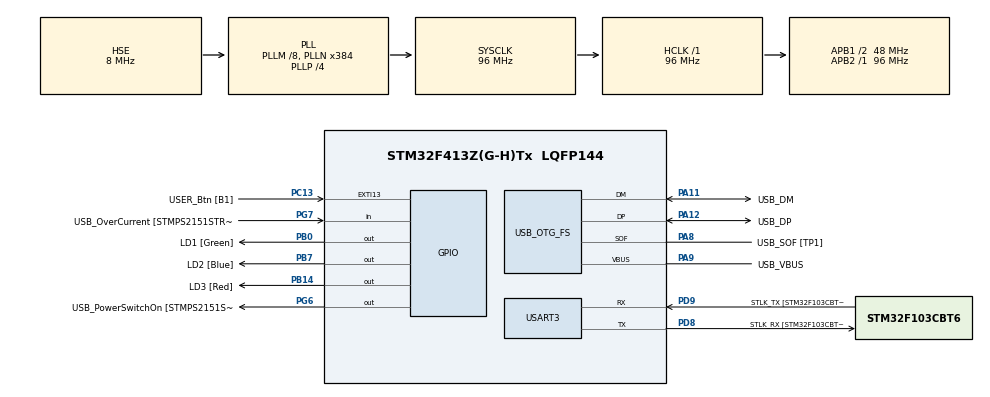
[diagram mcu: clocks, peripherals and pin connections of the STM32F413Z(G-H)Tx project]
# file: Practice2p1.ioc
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Mcu.Family=STM32F4
Mcu.Name=STM32F413Z(G-H)Tx
Mcu.Package=LQFP144
NVIC.PriorityGroup=NVIC_PRIORITYGROUP_4
PA10.GPIO_Label=USB_ID
PA10.Signal=USB_OTG_FS_ID
PA11.GPIO_Label=USB_DM
PA11.Mode=Device_Only
PA11.Signal=USB_OTG_FS_DM
PA12.GPIO_Label=USB_DP
PA12.Mode=Device_Only
PA12.Signal=USB_OTG_FS_DP
PA13.GPIO_Label=TMS
PA13.Mode=Serial_Wire
PA13.Signal=SYS_JTMS-SWDIO
PA14.GPIO_Label=TCK
PA14.Mode=Serial_Wire
PA14.Signal=SYS_JTCK-SWCLK
PA8.GPIO_Label=USB_SOF [TP1]
PA8.Mode=Activate_SOF_FS
PA8.Signal=USB_OTG_FS_SOF
PA9.GPIO_Label=USB_VBUS
PA9.Mode=Activate_VBUS
PA9.Signal=USB_OTG_FS_VBUS
PB0.GPIO_Label=LD1 [Green]
PB0.Signal=GPIO_Output
PB14.GPIO_Label=LD3 [Red]
PB14.Signal=GPIO_Output
PB3.GPIO_Label=SWO
PB3.Signal=SYS_JTDO-SWO
PB7.GPIO_Label=LD2 [Blue]
PB7.Signal=GPIO_Output
PC13.GPIO_Label=USER_Btn [B1]
PC13.Signal=GPXTI13
PC14-OSC32_IN.Mode=LSE-External-Oscillator
PC14-OSC32_IN.Signal=RCC_OSC32_IN
PC15-OSC32_OUT.Mode=LSE-External-Oscillator
PC15-OSC32_OUT.Signal=RCC_OSC32_OUT
PD8.GPIO_Label=STLK_RX [STM32F103CBT6_PA3]
PD8.Mode=Asynchronous
PD8.Signal=USART3_TX
PD9.GPIO_Label=STLK_TX [STM32F103CBT6_PA2]
PD9.Mode=Asynchronous
PD9.Signal=USART3_RX
PG6.GPIO_Label=USB_PowerSwitchOn [STMPS2151STR_EN]
PG6.Signal=GPIO_Output
PG7.GPIO_Label=USB_OverCurrent [STMPS2151STR_FAULT]
PG7.Signal=GPIO_Input
PH0\ -\ OSC_IN.GPIO_Label=MCO
PH0\ -\ OSC_IN.Mode=HSE-External-Clock-Source
PH0\ -\ OSC_IN.Signal=RCC_OSC_IN
PH1\ -\ OSC_OUT.Mode=HSE-External-Clock-Source
PH1\ -\ OSC_OUT.Signal=RCC_OSC_OUT
ProjectManager.HeapSize=0x200
ProjectManager.StackSize=0x400
ProjectManager.TargetToolchain=STM32CubeIDE
RCC.48MHZClocksFreq_Value=24000000
RCC.AHBFreq_Value=96000000
RCC.APB1CLKDivider=RCC_HCLK_DIV2
RCC.APB1Freq_Value=48000000
RCC.APB1TimFreq_Value=96000000
RCC.APB2Freq_Value=96000000
RCC.APB2TimFreq_Value=96000000
RCC.CortexFreq_Value=96000000
RCC.HCLKFreq_Value=96000000
RCC.HSE_VALUE=8000000
RCC.HSI_VALUE=16000000
RCC.PLLM=8
RCC.PLLMUL=RCC_PLL_MUL9
RCC.PLLN=384
RCC.PLLP=RCC_PLLP_DIV4
RCC.PLLQ=8
RCC.PRESCALERUSB=RCC_USBCLKSOURCE_PLL_DIV1_5
RCC.SYSCLKFreq_VALUE=96000000
RCC.SYSCLKSource=RCC_SYSCLKSOURCE_PLLCLK
RCC.SYSCLKSourceVirtual=RCC_SYSCLKSOURCE_PLLCLK
RCC.USBFreq_Value=48000000
RCC.VCOOutputFreq_Value=384000000
USART3.VirtualMode=VM_ASYNC
USB_OTG_FS.VirtualMode=Device_Only
board=NUCLEO-F413ZH

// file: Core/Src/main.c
/* USER CODE BEGIN Header */
/**
  ******************************************************************************
  * @file           : main.c
  * @brief          : Main program body
  ******************************************************************************
  * @attention
  *
  * Copyright (c) 2023 STMicroelectronics.
  * All rights reserved.
  *
  * This software is licensed under terms that can be found in the LICENSE file
  * in the root directory of this software component.
  * If no LICENSE file comes with this software, it is provided AS-IS.
  *
  ******************************************************************************
  */
/* USER CODE END Header */
#include "main.h"

/* USER CODE BEGIN PD */

#define PERIOD_LED1 100
#define PERIOD_LED2 500
#define PERIOD_LED3 1000
#define LEDn 3

/* USER CODE END PD */

UART_HandleTypeDef huart3;

PCD_HandleTypeDef hpcd_USB_OTG_FS;

/* USER CODE BEGIN PV */
uint16_t ledPinArray[LEDn]={LD1_Pin, LD2_Pin, LD3_Pin};
uint16_t periodArray[LEDn]={PERIOD_LED1, PERIOD_LED2, PERIOD_LED3};

delay_t ledTimed[LEDn];

// uint16_t delayTime=200;

//uint32_t actualTime = 0;
//uint32_t startTime = 0;
//uint32_t duration = 0;

/* USER CODE END PV */

void SystemClock_Config(void);
static void MX_GPIO_Init(void);
static void MX_USART3_UART_Init(void);
static void MX_USB_OTG_FS_PCD_Init(void);

int main(void)
{

  /* MCU Configuration--------------------------------------------------------*/

  /* Reset of all peripherals, Initializes the Flash interface and the Systick. */
  HAL_Init();

  /* Configure the system clock */
  SystemClock_Config();

  /* Initialize all configured peripherals */
  MX_GPIO_Init();
  MX_USART3_UART_Init();
  MX_USB_OTG_FS_PCD_Init();
  /* USER CODE BEGIN 2 */

  for(uint8_t i=0; i<LEDn; i++)
  {
  	  delayInit(&ledTimed[i], periodArray[i]);
  }

  /* USER CODE END 2 */

  /* Infinite loop */
  while (1)
  {

	  for(uint8_t i=0; i<LEDn; i++)
	  {
	  	  if ( delayRead(&ledTimed[i]) )
	  			  {
	  		  	  	  HAL_GPIO_TogglePin(GPIOB, ledPinArray[i]);
	  			  }
	  }

  }
}

void SystemClock_Config(void)
{
  RCC_OscInitTypeDef RCC_OscInitStruct = {0};
  RCC_ClkInitTypeDef RCC_ClkInitStruct = {0};

  /** Configure the main internal regulator output voltage
  */
  __HAL_RCC_PWR_CLK_ENABLE();
  __HAL_PWR_VOLTAGESCALING_CONFIG(PWR_REGULATOR_VOLTAGE_SCALE1);

  /** Initializes the RCC Oscillators according to the specified parameters
  * in the RCC_OscInitTypeDef structure.
  */
  RCC_OscInitStruct.OscillatorType = RCC_OSCILLATORTYPE_HSE;
  RCC_OscInitStruct.HSEState = RCC_HSE_BYPASS;
  RCC_OscInitStruct.PLL.PLLState = RCC_PLL_ON;
  RCC_OscInitStruct.PLL.PLLSource = RCC_PLLSOURCE_HSE;
  RCC_OscInitStruct.PLL.PLLM = 8;
  RCC_OscInitStruct.PLL.PLLN = 384;
  RCC_OscInitStruct.PLL.PLLP = RCC_PLLP_DIV4;
  RCC_OscInitStruct.PLL.PLLQ = 8;
  RCC_OscInitStruct.PLL.PLLR = 2;
  if (HAL_RCC_OscConfig(&RCC_OscInitStruct) != HAL_OK)
  {
    Error_Handler();
  }

  /** Initializes the CPU, AHB and APB buses clocks
  */
  RCC_ClkInitStruct.ClockType = RCC_CLOCKTYPE_HCLK|RCC_CLOCKTYPE_SYSCLK
                              |RCC_CLOCKTYPE_PCLK1|RCC_CLOCKTYPE_PCLK2;
  RCC_ClkInitStruct.SYSCLKSource = RCC_SYSCLKSOURCE_PLLCLK;
  RCC_ClkInitStruct.AHBCLKDivider = RCC_SYSCLK_DIV1;
  RCC_ClkInitStruct.APB1CLKDivider = RCC_HCLK_DIV2;
  RCC_ClkInitStruct.APB2CLKDivider = RCC_HCLK_DIV1;

  if (HAL_RCC_ClockConfig(&RCC_ClkInitStruct, FLASH_LATENCY_3) != HAL_OK)
  {
    Error_Handler();
  }
}

static void MX_USART3_UART_Init(void)
{

  huart3.Instance = USART3;
  huart3.Init.BaudRate = 115200;
  huart3.Init.WordLength = UART_WORDLENGTH_8B;
  huart3.Init.StopBits = UART_STOPBITS_1;
  huart3.Init.Parity = UART_PARITY_NONE;
  huart3.Init.Mode = UART_MODE_TX_RX;
  huart3.Init.HwFlowCtl = UART_HWCONTROL_NONE;
  huart3.Init.OverSampling = UART_OVERSAMPLING_16;
  if (HAL_UART_Init(&huart3) != HAL_OK)
  {
    Error_Handler();
  }

}

static void MX_USB_OTG_FS_PCD_Init(void)
{

  hpcd_USB_OTG_FS.Instance = USB_OTG_FS;
  hpcd_USB_OTG_FS.Init.dev_endpoints = 6;
  hpcd_USB_OTG_FS.Init.speed = PCD_SPEED_FULL;
  hpcd_USB_OTG_FS.Init.dma_enable = DISABLE;
  hpcd_USB_OTG_FS.Init.phy_itface = PCD_PHY_EMBEDDED;
  hpcd_USB_OTG_FS.Init.Sof_enable = ENABLE;
  hpcd_USB_OTG_FS.Init.low_power_enable = DISABLE;
  hpcd_USB_OTG_FS.Init.lpm_enable = DISABLE;
  hpcd_USB_OTG_FS.Init.battery_charging_enable = ENABLE;
  hpcd_USB_OTG_FS.Init.vbus_sensing_enable = ENABLE;
  hpcd_USB_OTG_FS.Init.use_dedicated_ep1 = DISABLE;
  if (HAL_PCD_Init(&hpcd_USB_OTG_FS) != HAL_OK)
  {
    Error_Handler();
  }

}

static void MX_GPIO_Init(void)
{
  GPIO_InitTypeDef GPIO_InitStruct = {0};

  /* GPIO Ports Clock Enable */
  __HAL_RCC_GPIOC_CLK_ENABLE();
  __HAL_RCC_GPIOH_CLK_ENABLE();
  __HAL_RCC_GPIOB_CLK_ENABLE();
  __HAL_RCC_GPIOD_CLK_ENABLE();
  __HAL_RCC_GPIOG_CLK_ENABLE();
  __HAL_RCC_GPIOA_CLK_ENABLE();

  /*Configure GPIO pin Output Level */
  HAL_GPIO_WritePin(GPIOB, LD1_Pin|LD3_Pin|LD2_Pin, GPIO_PIN_RESET);

  /*Configure GPIO pin Output Level */
  HAL_GPIO_WritePin(USB_PowerSwitchOn_GPIO_Port, USB_PowerSwitchOn_Pin, GPIO_PIN_RESET);

  /*Configure GPIO pin : USER_Btn_Pin */
  GPIO_InitStruct.Pin = USER_Btn_Pin;
  GPIO_InitStruct.Mode = GPIO_MODE_IT_RISING;
  GPIO_InitStruct.Pull = GPIO_NOPULL;
  HAL_GPIO_Init(USER_Btn_GPIO_Port, &GPIO_InitStruct);

  /*Configure GPIO pins : LD1_Pin LD3_Pin LD2_Pin */
  GPIO_InitStruct.Pin = LD1_Pin|LD3_Pin|LD2_Pin;
  GPIO_InitStruct.Mode = GPIO_MODE_OUTPUT_PP;
  GPIO_InitStruct.Pull = GPIO_NOPULL;
  GPIO_InitStruct.Speed = GPIO_SPEED_FREQ_LOW;
  HAL_GPIO_Init(GPIOB, &GPIO_InitStruct);

  /*Configure GPIO pin : USB_PowerSwitchOn_Pin */
  GPIO_InitStruct.Pin = USB_PowerSwitchOn_Pin;
  GPIO_InitStruct.Mode = GPIO_MODE_OUTPUT_PP;
  GPIO_InitStruct.Pull = GPIO_NOPULL;
  GPIO_InitStruct.Speed = GPIO_SPEED_FREQ_LOW;
  HAL_GPIO_Init(USB_PowerSwitchOn_GPIO_Port, &GPIO_InitStruct);

  /*Configure GPIO pin : USB_OverCurrent_Pin */
  GPIO_InitStruct.Pin = USB_OverCurrent_Pin;
  GPIO_InitStruct.Mode = GPIO_MODE_INPUT;
  GPIO_InitStruct.Pull = GPIO_NOPULL;
  HAL_GPIO_Init(USB_OverCurrent_GPIO_Port, &GPIO_InitStruct);

}

/* USER CODE BEGIN 4 */

void delayInit(delay_t *delay, tick_t duration)
{
	delay->duration = duration;
	delay->running = false;
}

bool_t delayRead(delay_t *delay)
{
	if (delay->running == false)
	{
		delay->running = true;
		delay->startTime = HAL_GetTick();
		return false;
	}
	else
	{
		if ((HAL_GetTick() - delay->startTime) < delay->duration)
		{
			return false;
		}
		else
		{
			delay->running = false;
			return true;
		}
	}
}

void delayWrite(delay_t *delay, tick_t duration)
{
	delay->duration = duration;
}

/* USER CODE END 4 */

void Error_Handler(void)
{
  __disable_irq();
  while (1)
  {
  }
}
